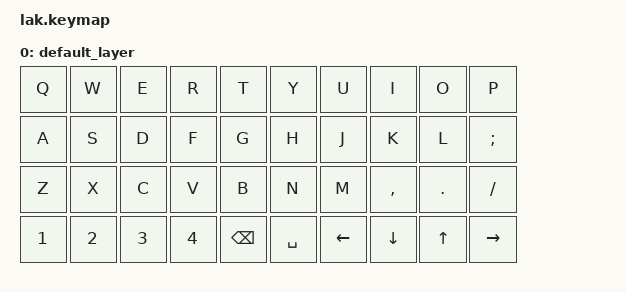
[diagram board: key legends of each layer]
#include <behaviors.dtsi>
#include <dt-bindings/zmk/keys.h>

#define DEFAULT 0

/ {
	combos {
		compatible = "zmk,combos";
		combo_bootloader {
			timeout-ms = <100>;
			key-positions = <24 27 29 34>;
			bindings = <&bootloader>;
		};
    };	

	keymap {
		compatible = "zmk,keymap";

		default_layer {
// Q W E R T Y U I O P
// A S D F G H J K L ;
// Z X C V B N M , . /
// 1 2 3 4 b s l d u r
			bindings = <
	&kp Q  &kp W  &kp E  &kp R  &kp T    &kp Y     &kp U    &kp I     &kp O   &kp P
	&kp A  &kp S  &kp D  &kp F  &kp G    &kp H     &kp J    &kp K     &kp L   &kp SEMI
    &kp Z  &kp X  &kp C  &kp V  &kp B    &kp N     &kp M    &kp COMMA &kp DOT &kp FSLH
	&kp N1 &kp N2 &kp N3 &kp N4 &kp BSPC &kp SPACE &kp LEFT &kp DOWN  &kp UP  &kp RIGHT
			>;
		};

	};
};

